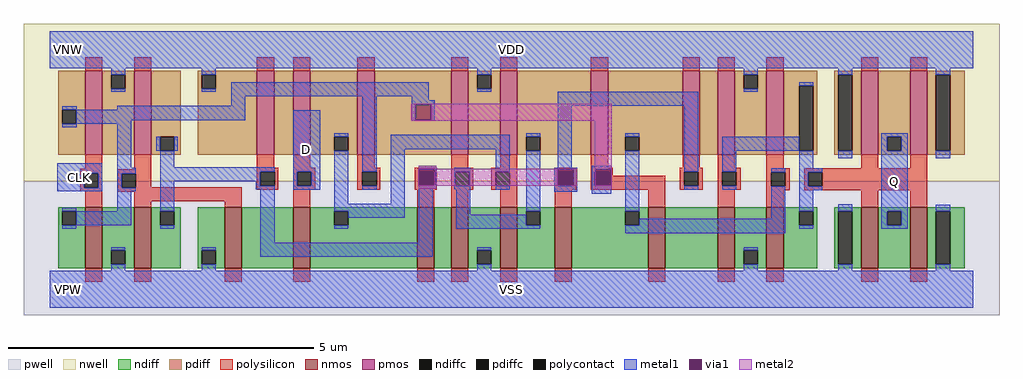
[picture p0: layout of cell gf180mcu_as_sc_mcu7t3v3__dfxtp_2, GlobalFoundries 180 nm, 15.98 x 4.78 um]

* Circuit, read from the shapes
.subckt gf180mcu_as_sc_mcu7t3v3__dfxtp_2 VDD VNW VPW VSS CLK D Q
XM1 VSS CLK n1 VPW nfet_03v3 w=1u l=0.28u
XM2 n2 n1 VSS VPW nfet_03v3 w=1u l=0.28u
XM3 n3 n1 VSS VPW nfet_03v3 w=1u l=0.28u
XM4 n4 D n3 VPW nfet_03v3 w=1u l=0.28u
XM5 n5 n2 n4 VPW nfet_03v3 w=1u l=0.28u
XM6 VSS n6 n5 VPW nfet_03v3 w=1u l=0.28u
XM7 n6 n4 VSS VPW nfet_03v3 w=1u l=0.28u
XM8 n7 n2 n6 VPW nfet_03v3 w=1u l=0.28u
XM9 n8 n1 n7 VPW nfet_03v3 w=1u l=0.28u
XM10 VSS n9 n8 VPW nfet_03v3 w=1u l=0.28u
XM11 n9 n7 VSS VPW nfet_03v3 w=1u l=0.28u
XM12 Q n9 VSS VPW nfet_03v3 w=1u l=0.28u m=2
XM13 VDD CLK n1 VNW pfet_03v3 w=1.38u l=0.28u
XM14 n2 n1 VDD VNW pfet_03v3 w=1.38u l=0.28u
XM15 n10 n2 VDD VNW pfet_03v3 w=1.38u l=0.285u
XM16 n4 D n10 VNW pfet_03v3 w=1.38u l=0.28u
XM17 n11 n1 n4 VNW pfet_03v3 w=1.38u l=0.285u
XM18 VDD n6 n11 VNW pfet_03v3 w=1.38u l=0.28u
XM19 n6 n4 VDD VNW pfet_03v3 w=1.38u l=0.28u
XM20 n7 n1 n6 VNW pfet_03v3 w=1.38u l=0.28u
XM21 n12 n2 n7 VNW pfet_03v3 w=1.38u l=0.28u
XM22 VDD n9 n12 VNW pfet_03v3 w=1.38u l=0.28u
XM23 n9 n7 VDD VNW pfet_03v3 w=1.38u l=0.28u
XM24 Q n9 VDD VNW pfet_03v3 w=1.38u l=0.28u m=2
.ends

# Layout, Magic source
magic
tech gf180mcuD
magscale 1 10
<< nwell >>
rect -86 354 3110 870
<< pwell >>
rect -86 -86 3110 354
<< nmos >>
rect 116 68 172 268
rect 276 68 332 268
rect 573 68 629 268
rect 797 68 853 268
rect 1203 68 1259 268
rect 1315 68 1371 268
rect 1475 68 1531 268
rect 1653 68 1709 268
rect 1959 68 2015 268
rect 2187 68 2243 268
rect 2347 68 2403 268
rect 2657 68 2713 268
rect 2817 68 2873 268
<< pmos >>
rect 116 440 172 716
rect 276 440 332 716
rect 678 440 735 716
rect 797 440 853 716
rect 1007 440 1064 716
rect 1315 440 1371 716
rect 1475 440 1531 716
rect 1772 440 1828 716
rect 2072 440 2128 716
rect 2187 440 2243 716
rect 2347 440 2403 716
rect 2657 440 2713 716
rect 2817 440 2873 716
<< ndiff >>
rect 28 255 116 268
rect 28 209 41 255
rect 87 209 116 255
rect 28 68 116 209
rect 172 127 276 268
rect 172 81 201 127
rect 247 81 276 127
rect 172 68 276 81
rect 332 255 429 268
rect 332 209 361 255
rect 407 209 429 255
rect 332 68 429 209
rect 485 127 573 268
rect 485 81 498 127
rect 544 81 573 127
rect 485 68 573 81
rect 629 68 797 268
rect 853 255 1203 268
rect 853 209 932 255
rect 978 209 1203 255
rect 853 68 1203 209
rect 1259 68 1315 268
rect 1371 127 1475 268
rect 1371 81 1400 127
rect 1446 81 1475 127
rect 1371 68 1475 81
rect 1531 255 1653 268
rect 1531 209 1560 255
rect 1606 209 1653 255
rect 1531 68 1653 209
rect 1709 255 1959 268
rect 1709 209 1884 255
rect 1930 209 1959 255
rect 1709 68 1959 209
rect 2015 68 2187 268
rect 2243 127 2347 268
rect 2243 81 2272 127
rect 2318 81 2347 127
rect 2243 68 2347 81
rect 2403 255 2513 268
rect 2403 209 2454 255
rect 2500 209 2513 255
rect 2403 68 2513 209
rect 2569 255 2657 268
rect 2569 81 2582 255
rect 2628 81 2657 255
rect 2569 68 2657 81
rect 2713 255 2817 268
rect 2713 209 2742 255
rect 2788 209 2817 255
rect 2713 68 2817 209
rect 2873 255 2996 268
rect 2873 81 2902 255
rect 2948 81 2996 255
rect 2873 68 2996 81
<< pdiff >>
rect 28 587 116 716
rect 28 541 41 587
rect 87 541 116 587
rect 28 440 116 541
rect 172 703 276 716
rect 172 657 201 703
rect 247 657 276 703
rect 172 440 276 657
rect 332 499 429 716
rect 332 453 361 499
rect 407 453 429 499
rect 332 440 429 453
rect 485 703 678 716
rect 485 657 498 703
rect 544 657 678 703
rect 485 440 678 657
rect 735 440 797 716
rect 853 499 1007 716
rect 853 453 932 499
rect 978 453 1007 499
rect 853 440 1007 453
rect 1064 440 1315 716
rect 1371 703 1475 716
rect 1371 657 1400 703
rect 1446 657 1475 703
rect 1371 440 1475 657
rect 1531 499 1772 716
rect 1531 453 1560 499
rect 1606 453 1772 499
rect 1531 440 1772 453
rect 1828 499 2072 716
rect 1828 453 1884 499
rect 1930 453 2072 499
rect 1828 440 2072 453
rect 2128 440 2187 716
rect 2243 703 2347 716
rect 2243 657 2272 703
rect 2318 657 2347 703
rect 2243 440 2347 657
rect 2403 667 2513 716
rect 2403 453 2454 667
rect 2500 453 2513 667
rect 2403 440 2513 453
rect 2569 703 2657 716
rect 2569 453 2582 703
rect 2628 453 2657 703
rect 2569 440 2657 453
rect 2713 499 2817 716
rect 2713 453 2742 499
rect 2788 453 2817 499
rect 2713 440 2817 453
rect 2873 703 2996 716
rect 2873 453 2902 703
rect 2948 453 2996 703
rect 2873 440 2996 453
<< ndiffc >>
rect 41 209 87 255
rect 201 81 247 127
rect 361 209 407 255
rect 498 81 544 127
rect 932 209 978 255
rect 1400 81 1446 127
rect 1560 209 1606 255
rect 1884 209 1930 255
rect 2272 81 2318 127
rect 2454 209 2500 255
rect 2582 81 2628 255
rect 2742 209 2788 255
rect 2902 81 2948 255
<< pdiffc >>
rect 41 541 87 587
rect 201 657 247 703
rect 361 453 407 499
rect 498 657 544 703
rect 932 453 978 499
rect 1400 657 1446 703
rect 1560 453 1606 499
rect 1884 453 1930 499
rect 2272 657 2318 703
rect 2454 453 2500 667
rect 2582 453 2628 703
rect 2742 453 2788 499
rect 2902 453 2948 703
<< polysilicon >>
rect 116 716 172 760
rect 276 716 332 760
rect 678 716 735 760
rect 797 716 853 760
rect 1007 716 1064 760
rect 1315 716 1371 760
rect 1475 716 1531 760
rect 1772 716 1828 760
rect 2072 716 2128 760
rect 2187 716 2243 760
rect 2347 716 2403 760
rect 2657 716 2713 760
rect 2817 716 2873 760
rect 116 394 172 440
rect 100 379 172 394
rect 276 393 332 440
rect 678 398 735 440
rect 797 398 853 440
rect 1007 398 1064 440
rect 1315 398 1371 440
rect 100 333 113 379
rect 159 333 172 379
rect 100 320 172 333
rect 116 268 172 320
rect 222 378 332 393
rect 222 332 235 378
rect 281 334 332 378
rect 677 385 749 398
rect 677 339 690 385
rect 736 339 749 385
rect 281 332 629 334
rect 222 319 629 332
rect 677 326 749 339
rect 797 385 869 398
rect 797 339 810 385
rect 856 339 869 385
rect 797 326 869 339
rect 1007 385 1083 398
rect 1007 339 1024 385
rect 1070 339 1083 385
rect 1007 326 1083 339
rect 1195 385 1267 398
rect 1195 339 1208 385
rect 1254 339 1267 385
rect 1195 326 1267 339
rect 1315 385 1387 398
rect 1475 397 1531 440
rect 1772 397 1828 440
rect 2072 397 2128 440
rect 2187 397 2243 440
rect 1315 339 1328 385
rect 1374 339 1387 385
rect 1315 326 1387 339
rect 1446 384 1531 397
rect 1446 338 1460 384
rect 1506 338 1531 384
rect 276 288 629 319
rect 276 268 332 288
rect 573 268 629 288
rect 797 268 853 326
rect 1203 268 1259 326
rect 1315 268 1371 326
rect 1446 325 1531 338
rect 1652 384 1724 397
rect 1652 338 1665 384
rect 1711 338 1724 384
rect 1652 325 1724 338
rect 1772 384 1844 397
rect 1772 338 1785 384
rect 1831 371 1844 384
rect 2063 384 2139 397
rect 1831 338 2015 371
rect 1772 325 2015 338
rect 2063 338 2078 384
rect 2124 338 2139 384
rect 2063 325 2139 338
rect 2187 384 2263 397
rect 2187 338 2202 384
rect 2248 338 2263 384
rect 2187 325 2263 338
rect 2347 396 2403 440
rect 2657 396 2713 440
rect 2817 396 2873 440
rect 2347 383 2423 396
rect 2347 337 2362 383
rect 2408 337 2423 383
rect 1475 268 1531 325
rect 1653 268 1709 325
rect 1959 268 2015 325
rect 2187 268 2243 325
rect 2347 324 2423 337
rect 2471 383 2873 396
rect 2471 337 2484 383
rect 2530 337 2873 383
rect 2471 324 2873 337
rect 2347 268 2403 324
rect 2657 268 2713 324
rect 2817 268 2873 324
rect 116 24 172 68
rect 276 24 332 68
rect 573 24 629 68
rect 797 24 853 68
rect 1203 24 1259 68
rect 1315 24 1371 68
rect 1475 24 1531 68
rect 1653 24 1709 68
rect 1959 24 2015 68
rect 2187 24 2243 68
rect 2347 24 2403 68
rect 2657 24 2713 68
rect 2817 24 2873 68
<< polycontact >>
rect 113 333 159 379
rect 235 332 281 378
rect 690 339 736 385
rect 810 339 856 385
rect 1024 339 1070 385
rect 1208 339 1254 385
rect 1328 339 1374 385
rect 1460 338 1506 384
rect 1665 338 1711 384
rect 1785 338 1831 384
rect 2078 338 2124 384
rect 2202 338 2248 384
rect 2362 337 2408 383
rect 2484 337 2530 383
<< metal1 >>
rect 0 724 3024 844
rect 201 703 247 724
rect 201 646 247 657
rect 498 703 544 724
rect 1400 703 1446 724
rect 498 646 544 657
rect 594 632 1241 678
rect 1400 646 1446 657
rect 2272 703 2318 724
rect 2582 703 2628 724
rect 594 600 640 632
rect 41 587 89 599
rect 221 587 640 600
rect 87 554 640 587
rect 87 541 267 554
rect 41 530 89 541
rect 25 379 172 412
rect 25 333 113 379
rect 159 333 172 379
rect 25 320 172 333
rect 221 397 267 541
rect 349 453 361 499
rect 407 453 419 499
rect 361 400 407 453
rect 221 378 281 397
rect 221 332 235 378
rect 221 321 281 332
rect 361 385 736 400
rect 361 354 690 385
rect 41 255 87 266
rect 221 255 267 321
rect 87 209 267 255
rect 361 255 407 354
rect 675 339 690 354
rect 675 328 736 339
rect 41 198 87 209
rect 361 198 407 209
rect 690 152 736 328
rect 797 385 886 586
rect 797 339 810 385
rect 856 339 886 385
rect 797 326 886 339
rect 932 499 978 510
rect 932 280 978 453
rect 1024 385 1070 632
rect 1185 618 1241 632
rect 1185 606 1261 618
rect 1185 554 1197 606
rect 1249 554 1261 606
rect 1185 551 1261 554
rect 1664 601 2124 647
rect 2272 646 2318 657
rect 2454 667 2500 678
rect 1024 326 1070 339
rect 1116 459 1506 505
rect 1116 280 1162 459
rect 1209 398 1265 405
rect 932 255 1162 280
rect 978 234 1162 255
rect 1208 393 1265 398
rect 1208 385 1209 393
rect 1261 341 1265 393
rect 1254 339 1265 341
rect 1208 329 1265 339
rect 1325 385 1377 398
rect 1325 339 1328 385
rect 1374 339 1377 385
rect 932 198 978 209
rect 1208 152 1254 329
rect 1325 328 1377 339
rect 1331 244 1377 328
rect 1460 384 1506 459
rect 1460 325 1506 338
rect 1560 499 1606 510
rect 1560 255 1606 453
rect 1664 397 1710 601
rect 1884 499 1930 510
rect 1652 393 1728 397
rect 1652 341 1664 393
rect 1716 341 1728 393
rect 1652 338 1665 341
rect 1711 338 1728 341
rect 1652 319 1728 338
rect 1774 392 1838 405
rect 1774 384 1786 392
rect 1774 338 1785 384
rect 1831 338 1838 340
rect 1774 312 1838 338
rect 1331 209 1560 244
rect 1331 198 1606 209
rect 1884 255 1930 453
rect 2078 384 2124 601
rect 2078 325 2124 338
rect 2202 454 2454 500
rect 2202 384 2248 454
rect 2454 396 2500 453
rect 2902 703 2948 724
rect 2582 429 2628 453
rect 2723 499 2809 510
rect 2723 453 2742 499
rect 2788 453 2809 499
rect 2202 325 2248 338
rect 2362 383 2408 396
rect 2362 230 2408 337
rect 1930 209 2408 230
rect 1884 184 2408 209
rect 2454 383 2530 396
rect 2454 337 2484 383
rect 2454 324 2530 337
rect 2454 255 2500 324
rect 2454 198 2500 209
rect 2582 255 2628 278
rect 201 127 247 138
rect 201 60 247 81
rect 498 127 544 138
rect 690 106 1254 152
rect 1400 127 1446 138
rect 498 60 544 81
rect 1400 60 1446 81
rect 2272 127 2318 138
rect 2272 60 2318 81
rect 2723 255 2809 453
rect 2902 429 2948 453
rect 2723 209 2742 255
rect 2788 209 2809 255
rect 2723 198 2809 209
rect 2902 255 2948 277
rect 2582 60 2628 81
rect 2902 60 2948 81
rect 0 -60 3024 60
<< via1 >>
rect 1197 554 1249 606
rect 1209 385 1261 393
rect 1209 341 1254 385
rect 1254 341 1261 385
rect 1664 384 1716 393
rect 1664 341 1665 384
rect 1665 341 1711 384
rect 1711 341 1716 384
rect 1786 384 1838 392
rect 1786 340 1831 384
rect 1831 340 1838 384
<< metal2 >>
rect 1183 606 1840 608
rect 1183 554 1197 606
rect 1249 554 1840 606
rect 1183 552 1840 554
rect 1209 395 1265 405
rect 1207 393 1728 395
rect 1207 341 1209 393
rect 1261 341 1664 393
rect 1716 341 1728 393
rect 1207 339 1728 341
rect 1784 392 1840 552
rect 1784 340 1786 392
rect 1838 340 1840 392
rect 1209 329 1265 339
rect 1784 328 1840 340
<< labels >>
flabel metal1 s 0 724 3024 844 0 FreeSans 400 0 0 0 VDD
port 1 nsew power bidirectional abutment
flabel metal1 s 0 -60 3024 60 0 FreeSans 400 0 0 0 VSS
port 4 nsew ground bidirectional abutment
flabel nwell s 10 734 110 834 0 FreeSans 400 0 0 0 VNW
port 2 nsew power bidirectional
flabel pwell s 10 -50 110 50 0 FreeSans 400 0 0 0 VPW
port 3 nsew ground bidirectional
flabel metal1 25 320 172 412 0 FreeSans 200 0 0 0 CLK
port 5 nsew clock input
flabel metal1 797 326 886 586 0 FreeSans 200 0 0 0 D
port 6 nsew signal input
flabel metal1 2723 198 2809 510 0 FreeSans 200 0 0 0 Q
port 7 nsew signal output
<< properties >>
string FIXED_BBOX 0 0 3024 784
string LEFclass CORE
string LEFsite unithd
string LEFsymmetry X Y
string MASKHINTS_NPLUS -16 -46 3040 354
string MASKHINTS_PPLUS -16 354 3040 830
<< end >>
